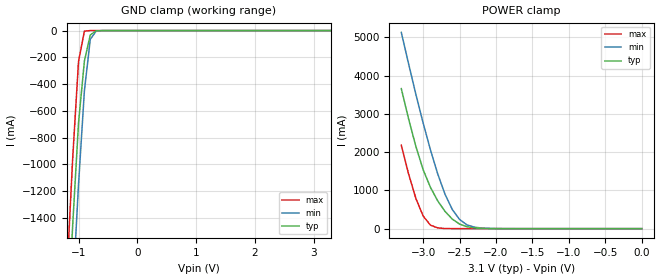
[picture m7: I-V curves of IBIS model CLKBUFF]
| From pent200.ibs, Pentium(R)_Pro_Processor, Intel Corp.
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[Model]   CLKBUFF
Model_type   Input
Vinl = 0.8v
Vinh = 2.0v
|variable   typ   min   max
C_comp   2.1p  1.9p  2.3p
|variable   typ   min   max
[Voltage Range]   3.1v  2.845 3.255
|Variable   typ   min   max
[Temperature Range] 80   0   100
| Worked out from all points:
|   GND clamp passes 1 mA (typ) near -0.65 V on its own axis
|   POWER clamp passes 1 mA (typ) near -1.98 V on its own axis
[GND_Clamp]
|Voltage  I(typ)   I(min)   I(max)
-2V       -9.98A     -10.4A     -9.53A
-1.2V     -2.35A     -2.86A     -1.84A
-1.1V     -1.46A     -1.97A     -960mA
-1V       -690mA     -1.15A     -230mA
-900mV    -227mA     -450mA     -4.26mA
-800mV    -32.9mA    -65.7mA    -74.4uA
-700mV    -1.81mA    -3.61mA    -7.46uA
3.3V      0A         0A         0A
[POWER_Clamp]
|Voltage  I(typ)   I(min)   I(max)
-3.3V     3.66A      5.13A      2.18A
-3.2V     2.87A      4.31A      1.43A
-3.1V     2.15A      3.51A      790mA
-3V       1.54A      2.76A      330mA
-2.9V     1.08A      2.06A      91.7mA
-2.8V     725mA      1.43A      19.7mA
-2.7V     452mA      900mA      3.84mA
-2.6V     250mA      500mA      740uA
-2.5V     120mA      240mA      140uA
-2.3V     20.5mA     41mA       0A
-2.1V     2.97mA     5.94mA     0A
0V        0A         0A         0A
